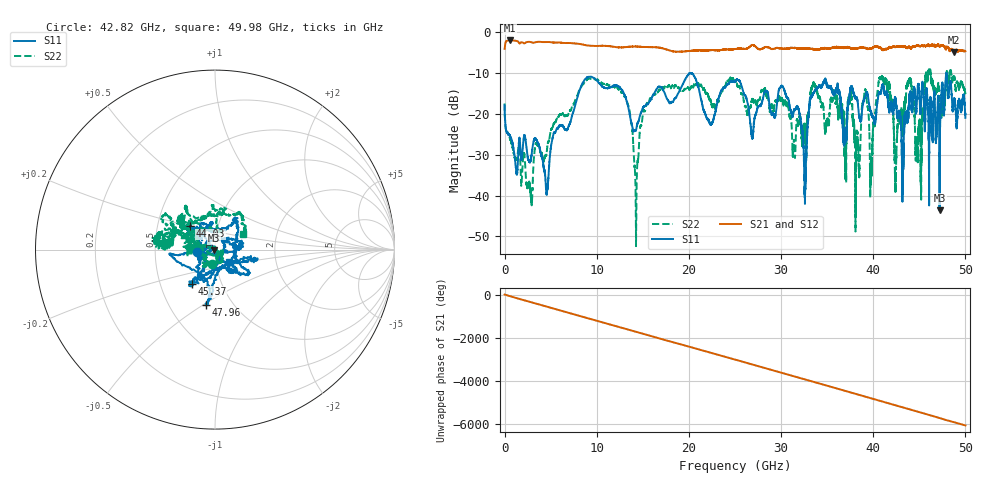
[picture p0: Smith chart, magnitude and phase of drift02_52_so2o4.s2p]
!Created with skrf (http://scikit-rf.org).
# Hz S RI R 50.0
!freq ReS11 ImS11 ReS21 ImS21 ReS12 ImS12 ReS22 ImS22
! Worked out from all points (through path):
!   10001 points, 300 kHz to 50 GHz, reference 50 ohm
!   highest |S21| = -1.99 dB at 585.3 MHz (marker M1); lowest = -4.8 dB at 48.76 GHz (marker M2)
!   group delay of S21, straight-line fit = 337 ps
!   lowest |S11| = -43.6 dB at 47.2 GHz (marker M3), VSWR 1.01, Z = 49.4 - j0.294 ohm
!   |S11| at or under -10 dB: start of sweep to 20.06 GHz; 20.20724 GHz to 20.22128 GHz (14.04 MHz wide, 0.0695 % of centre); 20.24 GHz to end of sweep (the widest 3 of 6)
!   |S22| runs from -52.4 to -9.0 dB; largest |S21 - S12| = 0.034
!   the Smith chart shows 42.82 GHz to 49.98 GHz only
!   S11 on the Smith chart (normalised r, x): 42.82 GHz: 0.81, -0.02; 44.03 GHz: 0.73, +0.20; 45.37 GHz: 0.72, -0.29; 47.96 GHz: 0.75, -0.51; 49.98 GHz: 1.16, -0.16
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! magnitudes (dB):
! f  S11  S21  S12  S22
! 300 kHz  -17.9  -4.1  -4.0  -17.4
! 585.3 MHz  -25.3  -2.0  -2.0  -26.0
! 4.565 GHz  -39.8  -2.4  -2.4  -29.4
! 8.335 GHz  -13.0  -2.9  -2.9  -13.2
! 13.01 GHz  -15.3  -3.6  -3.6  -15.7
! 14.28 GHz  -23.9  -3.5  -3.5  -48.0
! 16.67 GHz  -13.3  -3.7  -3.7  -14.6
! 25 GHz  -12.1  -4.1  -4.1  -12.2
! 26.86 GHz  -25.7  -3.1  -3.1  -16.4
! 30.18 GHz  -13.3  -4.1  -4.1  -16.6
! 32.58 GHz  -39.2  -3.9  -4.0  -24.1
! 33.34 GHz  -15.8  -4.0  -4.0  -13.7
! 38.29 GHz  -16.8  -3.9  -3.9  -24.3
! 41.67 GHz  -18.3  -3.8  -3.9  -12.4
! 42.82 GHz  -19.8  -3.5  -3.5  -21.7
! 44.03 GHz  -14.4  -3.8  -3.8  -11.5
! 45.37 GHz  -12.7  -3.3  -3.3  -19.0
! 47.2 GHz  -43.6  -3.5  -3.4  -16.2
! 47.96 GHz  -10.1  -3.9  -3.9  -10.0
! 48.76 GHz  -16.8  -4.8  -4.8  -10.6
! 49.98 GHz  -19.8  -4.6  -4.5  -14.9
! 50 GHz  -21.0  -4.6  -4.6  -15.4
